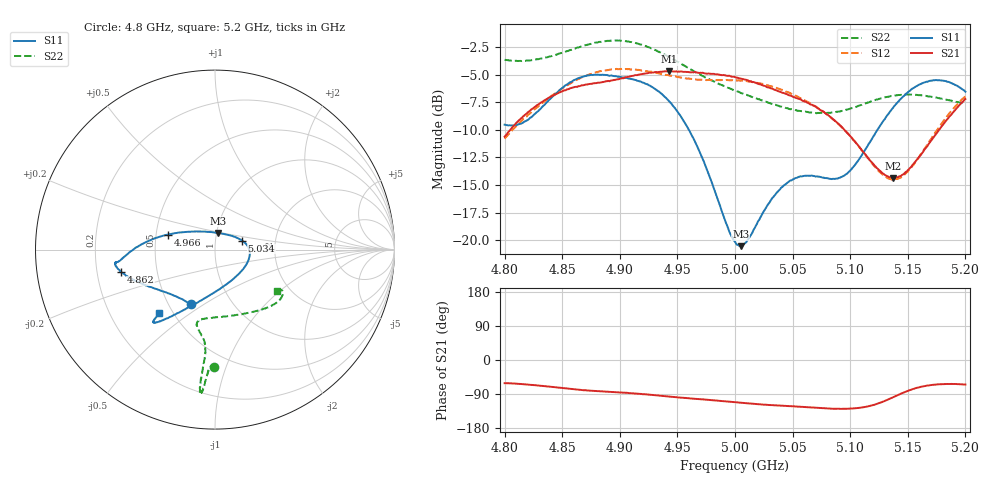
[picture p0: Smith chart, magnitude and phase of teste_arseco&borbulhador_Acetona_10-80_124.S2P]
! Network Analyzer HP8722D
! Hewlett-Packard
! Data name: Linha & Wilkinson
! Saver's name: Rodrigo Anjos
! Comments: Teste da utilização de aquisição
! continua pelo VNA HP8722D
! Time and date: 17/4/2025 15:23
!  Frequency  S11  S21  S12  S22
# HZ  S  MA R 50
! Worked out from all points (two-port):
!   401 points, 4.8 GHz to 5.2 GHz, reference 50 ohm
!   highest |S21| = -4.69 dB at 4.943 GHz (marker M1); lowest = -14.4 dB at 5.137 GHz (marker M2)
!   |S21| within 3 dB of the highest: 4.829 GHz to 5.065 GHz (235.9 MHz wide, 4.77 % of centre); 5.195405 GHz to end of sweep
!   lowest |S11| = -20.5 dB at 5.005 GHz (marker M3), VSWR 1.21, Z = 50.7 + j9.48 ohm
!   |S11| at or under -10 dB: 4.96 GHz to 5.124 GHz (163.6 MHz wide, 3.25 % of centre)
!   |S22| runs from -8.5 to -1.9 dB; largest |S21 - S12| = 0.88
!   S11 on the Smith chart (normalised r, x): 4.8 GHz: 0.64, -0.44; 4.862 GHz: 0.31, -0.11; 4.966 GHz: 0.58, +0.11; 5.034 GHz: 1.35, +0.14; 5.2 GHz: 0.42, -0.39
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4.8e9  0.3338 -114.0  0.2946 -61.1  0.2887 -175.2  0.6563 -90.3
4.819e9  0.3481 -134.0  0.3742 -64.5  0.3629 -174.2  0.6515 -91.9
4.862e9  0.5363 -166.4  0.4958 -77.5  0.5309 -177.5  0.7423 -94.3
4.867e9  0.5485 -168.4  0.5035 -79.1  0.5461 -178.3  0.7562 -94.4
4.902e9  0.5464 -172.8  0.542 -86.1  0.5977 174.5  0.8015 -95.9
4.934e9  0.4715 -178.7  0.5786 -94.0  0.5698 171.4  0.714 -96.1
4.943e9  0.4254 177.2  0.5829 -96.6  0.5576 171.4  0.6751 -95.9
4.966e9  0.2738 162.2  0.5764 -102.4  0.5349 173.4  0.5757 -95.2
5e9  0.09852 99.1  0.5487 -111.6  0.5302 175.8  0.4757 -99.6
5.005e9  0.09396 80.5  0.5396 -112.9  0.5281 175.8  0.4642 -100.7
5.012e9  0.1018 57.6  0.526 -114.7  0.5233 175.4  0.4512 -102.0
5.034e9  0.1585 18.6  0.4809 -119.5  0.4928 174.4  0.411 -103.5
5.05e9  0.1883 2.4  0.447 -122.1  0.4568 173.7  0.3915 -99.3
5.067e9  0.1962 -15.8  0.4105 -125.4  0.4119 173.1  0.3778 -90.3
5.085e9  0.1898 -44.0  0.354 -128.7  0.3535 173.4  0.3795 -76.6
5.097e9  0.1998 -68.3  0.3076 -128.8  0.3084 174.5  0.3904 -66.7
5.134e9  0.3789 -117.4  0.1929 -102.9  0.1897 -155.8  0.4482 -43.0
5.137e9  0.3969 -119.2  0.1913 -98.7  0.1887 -150.9  0.4513 -41.7
5.15e9  0.4676 -125.0  0.2074 -81.6  0.2045 -131.1  0.457 -36.9
5.168e9  0.5251 -129.2  0.2724 -67.3  0.2761 -113.4  0.4477 -32.5
5.184e9  0.5232 -130.8  0.3521 -63.3  0.3636 -107.6  0.433 -31.3
5.2e9  0.4706 -131.1  0.4361 -64.9  0.4487 -107.0  0.4155 -33.7
